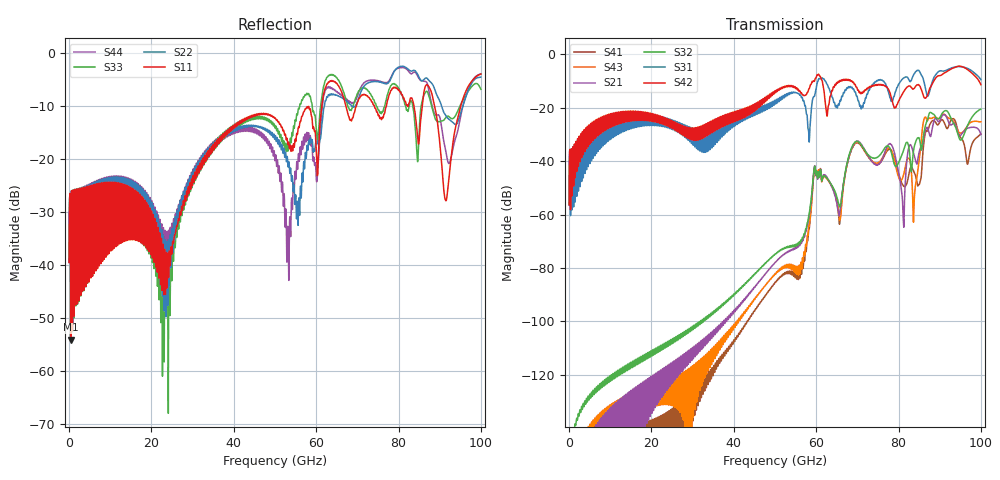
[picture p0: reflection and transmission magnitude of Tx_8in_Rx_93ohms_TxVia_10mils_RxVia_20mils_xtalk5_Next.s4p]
! Info: Touchstone file created by Circ.  Input file=Tx_8in_Rx_93ohms_TxVia_10mils_RxVia_20mils.circ
# Hz S RI R 50
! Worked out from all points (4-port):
!   10000 points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, 10 MHz to 100 GHz, reference 50 ohm
!   strongest paths, dB at 10 MHz, 25.01 GHz, 50.01 GHz, 75.01 GHz, 100 GHz:
!     S42: -56.4, -25.0, -13.8, -11.4, -11.4
!     S31: -56.3, -24.6, -17.5, -9.8, -9.5
!     S32: -177.9, -107.5, -74.8, -38.4, -20.6
!     S21: -, -118.7, -78.0, -41.3, -30.0
!     S43: -154.5, -127.5, -82.1, -40.6, -25.3
!     S41: -154.7, -133.6, -85.4, -41.1, -29.9
!   lowest |S11| = -54.0 dB at 400 MHz (marker M1), VSWR 1.00, Z = 49.8 + j0.0964 ohm
!   |S11| at or under -10 dB: start of sweep to 61.37 GHz; 74.13 GHz to 77.06 GHz (2.928 GHz wide, 3.87 % of centre); 88.78 GHz to 95.1 GHz (6.319 GHz wide, 6.87 % of centre) (the widest 3 of 6)
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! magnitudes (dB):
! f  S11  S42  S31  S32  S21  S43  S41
! 10 MHz  -39.5  -56.4  -56.3  -177.9  -  -154.5  -154.7
! 400 MHz  -54.0  -45.5  -45.6  -150.6  -180.5  -179.9  -179.5
! 23.75 GHz  -43.7  -24.4  -24.3  -109.4  -124.2  -131.0  -137.1
! 55.69 GHz  -14.0  -13.1  -14.7  -71.4  -72.1  -82.5  -84.4
! 59.8 GHz  -15.2  -9.0  -14.1  -43.6  -43.5  -43.8  -43.9
! 83.79 GHz  -10.3  -12.8  -7.3  -34.7  -37.9  -55.3  -44.2
! 100 GHz  -4.0  -11.4  -9.5  -20.6  -30.0  -25.3  -29.9
